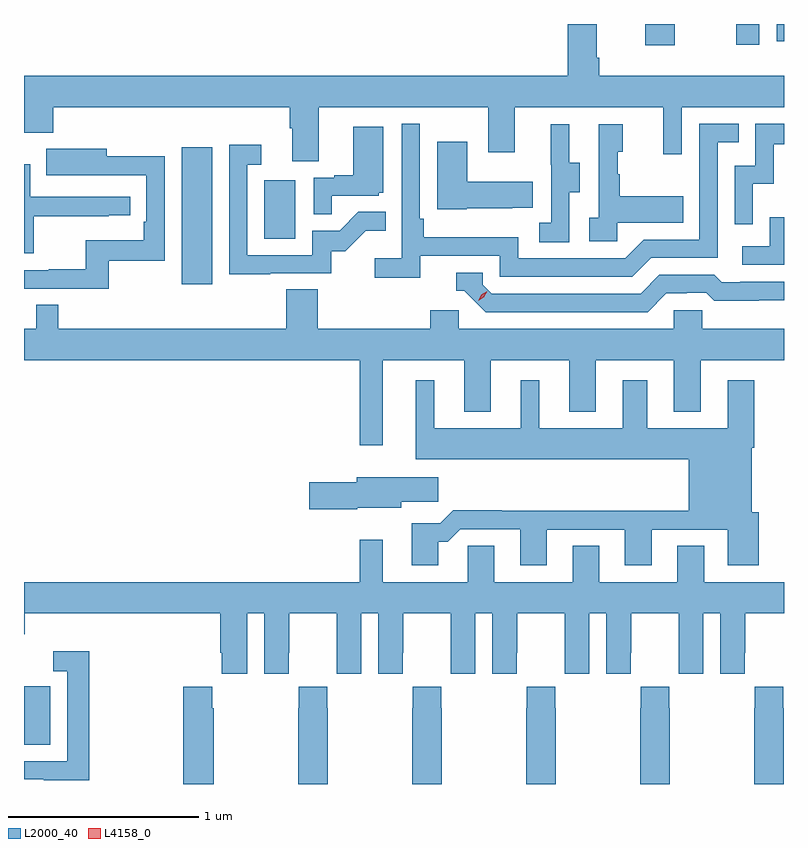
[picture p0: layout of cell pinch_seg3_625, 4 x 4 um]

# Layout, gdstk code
import gdstk
lib = gdstk.Library(unit=1e-6, precision=1e-09)
def R(c, l, rs):  # rectangles x0, y0, x1, y1
    for r in rs: c.add(gdstk.rectangle(r[:2], r[2:], *l))
def P(c, l, *ps):  # polygons
    for p in ps: c.add(gdstk.Polygon(p, *l))
L2000_40 = (2000, 40)
L4158_0 = (4158, 0)

pinch_seg3_625 = lib.new_cell('pinch_seg3_625')
R(pinch_seg3_625, L2000_40, [(1020.088,669.588,1020.226,669.895), (1020.917,672.012,1021.078,672.733), (1021.352,672.252,1021.516,672.559), (1023.359,673.269,1023.514,673.381), (1023.836,673.272,1023.958,673.381), (1024.05,673.29,1024.088,673.381)])
P(pinch_seg3_625, L2000_40, [(1021.639,672.944),(1022.531,672.944),(1022.531,672.705),(1022.671,672.705),(1022.671,672.944),(1023.452,672.944),(1023.452,672.696),(1023.549,672.696),(1023.549,672.944),(1024.088,672.944),(1024.088,673.108),(1023.116,673.108),(1023.116,673.204),(1023.103,673.204),(1023.103,673.381),(1022.951,673.381),(1022.951,673.108),(1020.088,673.108),(1020.088,672.809),(1020.242,672.809),(1020.242,672.944),(1021.487,672.944),(1021.487,672.832),(1021.499,672.832),(1021.499,672.658),(1021.639,672.658)],
  [(1022.174,672.162),(1022.592,672.162),(1022.592,672.051),(1023.289,672.051),(1023.388,672.15),(1023.738,672.15),(1023.738,672.759),(1023.851,672.759),(1023.851,672.855),(1023.642,672.855),(1023.642,672.246),(1023.351,672.246),(1023.252,672.147),(1022.688,672.147),(1022.688,672.259),(1022.192,672.259),(1022.192,672.355),(1022.172,672.355),(1022.172,672.856),(1022.076,672.856),(1022.076,672.148),(1021.935,672.148),(1021.935,672.046),(1022.174,672.046)],
  [(1023.924,672.539),(1024.034,672.539),(1024.034,672.747),(1024.088,672.747),(1024.088,672.855),(1023.936,672.855),(1023.936,672.636),(1023.828,672.636),(1023.828,672.327),(1023.924,672.327)],
  [(1023.21,672.335),(1023.557,672.335),(1023.557,672.475),(1023.223,672.475),(1023.223,672.59),(1023.213,672.59),(1023.213,672.708),(1023.238,672.708),(1023.238,672.853),(1023.114,672.853),(1023.114,672.362),(1023.063,672.362),(1023.063,672.237),(1023.21,672.237)],
  [(1022.958,672.496),(1023.013,672.496),(1023.013,672.651),(1022.959,672.651),(1022.959,672.853),(1022.861,672.853),(1022.861,672.639),(1022.862,672.639),(1022.862,672.335),(1022.799,672.335),(1022.799,672.232),(1022.958,672.232)],
  [(1021.709,672.477),(1021.956,672.477),(1021.956,672.492),(1021.978,672.492),(1021.978,672.841),(1021.82,672.841),(1021.82,672.586),(1021.721,672.586),(1021.721,672.573),(1021.614,672.573),(1021.614,672.379),(1021.709,672.379)],
  [(1022.418,672.41),(1022.657,672.41),(1022.657,672.413),(1022.765,672.413),(1022.765,672.55),(1022.422,672.55),(1022.422,672.76),(1022.264,672.76),(1022.264,672.407),(1022.418,672.407)],
  [(1021.385,672.069),(1021.704,672.069),(1021.704,672.186),(1021.78,672.186),(1021.887,672.293),(1021.991,672.293),(1021.991,672.392),(1021.847,672.392),(1021.749,672.294),(1021.605,672.294),(1021.605,672.165),(1021.263,672.165),(1021.263,672.639),(1021.336,672.639),(1021.336,672.745),(1021.167,672.745),(1021.167,672.064),(1021.385,672.064)],
  [(1020.535,672.135),(1020.828,672.135),(1020.828,672.686),(1020.523,672.686),(1020.523,672.724),(1020.205,672.724),(1020.205,672.584),(1020.419,672.584),(1020.419,672.585),(1020.732,672.585),(1020.732,672.34),(1020.719,672.34),(1020.719,672.244),(1020.414,672.244),(1020.414,672.089),(1020.217,672.089),(1020.217,672.084),(1020.088,672.084),(1020.088,671.988),(1020.535,671.988)],
  [(1020.14,672.37),(1020.533,672.37),(1020.533,672.375),(1020.646,672.375),(1020.646,672.471),(1020.12,672.471),(1020.12,672.643),(1020.088,672.643),(1020.088,672.174),(1020.14,672.174)],
  [(1024.088,672.364),(1024.014,672.364),(1024.014,672.21),(1023.867,672.21),(1023.867,672.114),(1024.088,672.114)],
  [(1023.469,671.964),(1023.576,671.964),(1023.576,671.967),(1023.679,671.967),(1023.721,671.925),(1023.954,671.925),(1023.954,671.927),(1024.088,671.927),(1024.088,672.024),(1023.859,672.024),(1023.859,672.021),(1023.76,672.021),(1023.721,672.06),(1023.432,672.06),(1023.333,671.961),(1022.55,671.961),(1022.502,672.009),(1022.502,672.072),(1022.363,672.072),(1022.363,671.976),(1022.406,671.976),(1022.517,671.865),(1023.37,671.865)],
  [(1021.975,671.612),(1022.405,671.612),(1022.405,671.339),(1022.545,671.339),(1022.545,671.612),(1022.957,671.612),(1022.957,671.339),(1023.097,671.339),(1023.097,671.612),(1023.509,671.612),(1023.509,671.339),(1023.649,671.339),(1023.649,671.612),(1024.088,671.612),(1024.088,671.776),(1023.657,671.776),(1023.657,671.874),(1023.507,671.874),(1023.507,671.776),(1022.376,671.776),(1022.376,671.874),(1022.225,671.874),(1022.225,671.776),(1021.634,671.776),(1021.634,671.984),(1021.469,671.984),(1021.469,671.776),(1020.269,671.776),(1020.269,671.903),(1020.153,671.903),(1020.153,671.776),(1020.088,671.776),(1020.088,671.612),(1021.854,671.612),(1021.854,671.163),(1021.975,671.163)],
  [(1022.269,670.655),(1022.318,670.655),(1022.385,670.722),(1022.699,670.722),(1022.699,670.533),(1022.839,670.533),(1022.839,670.719),(1023.251,670.719),(1023.251,670.533),(1023.391,670.533),(1023.391,670.719),(1023.791,670.719),(1023.791,670.533),(1023.956,670.533),(1023.956,670.812),(1023.919,670.812),(1023.919,671.15),(1023.932,671.15),(1023.932,671.506),(1023.791,671.506),(1023.791,671.254),(1023.367,671.254),(1023.367,671.506),(1023.239,671.506),(1023.239,671.254),(1022.8,671.254),(1022.8,671.506),(1022.702,671.506),(1022.702,671.254),(1022.248,671.254),(1022.248,671.506),(1022.15,671.506),(1022.15,671.09),(1023.587,671.09),(1023.587,670.82),(1022.603,670.82),(1022.603,670.823),(1022.348,670.823),(1022.278,670.753),(1022.129,670.753),(1022.129,670.533),(1022.269,670.533)],
  [(1021.842,670.835),(1022.074,670.835),(1022.074,670.867),(1022.269,670.867),(1022.269,670.996),(1021.838,670.996),(1021.838,670.97),(1021.59,670.97),(1021.59,670.828),(1021.842,670.828)],
  [(1021.264,670.28),(1021.352,670.28),(1021.352,669.96),(1021.482,669.96),(1021.482,670.072),(1021.483,670.072),(1021.483,670.28),(1021.733,670.28),(1021.733,670.072),(1021.734,670.072),(1021.734,669.96),(1021.864,669.96),(1021.864,670.28),(1021.952,670.28),(1021.952,669.96),(1022.082,669.96),(1022.082,670.072),(1022.083,670.072),(1022.083,670.28),(1022.333,670.28),(1022.333,670.072),(1022.334,670.072),(1022.334,669.96),(1022.464,669.96),(1022.464,670.28),(1022.552,670.28),(1022.552,669.96),(1022.682,669.96),(1022.682,670.072),(1022.683,670.072),(1022.683,670.28),(1022.933,670.28),(1022.933,670.072),(1022.934,670.072),(1022.934,669.96),(1023.064,669.96),(1023.064,670.28),(1023.152,670.28),(1023.152,669.96),(1023.282,669.96),(1023.282,670.072),(1023.283,670.072),(1023.283,670.28),(1023.533,670.28),(1023.533,670.072),(1023.534,670.072),(1023.534,669.96),(1023.664,669.96),(1023.664,670.28),(1023.752,670.28),(1023.752,669.96),(1023.882,669.96),(1023.882,670.072),(1023.883,670.072),(1023.883,670.28),(1024.088,670.28),(1024.088,670.444),(1023.667,670.444),(1023.667,670.634),(1023.527,670.634),(1023.527,670.444),(1023.115,670.444),(1023.115,670.634),(1022.975,670.634),(1022.975,670.444),(1022.563,670.444),(1022.563,670.634),(1022.424,670.634),(1022.424,670.444),(1021.975,670.444),(1021.975,670.666),(1021.854,670.666),(1021.854,670.444),(1020.088,670.444),(1020.088,670.168),(1020.092,670.168),(1020.092,670.28),(1021.121,670.28),(1021.121,670.072),(1021.13,670.072),(1021.13,669.96),(1021.264,669.96)],
  [(1020.431,670.081),(1020.243,670.081),(1020.243,669.975),(1020.315,669.975),(1020.315,669.501),(1020.088,669.501),(1020.088,669.405),(1020.193,669.405),(1020.193,669.4),(1020.431,669.4)],
  [(1024.086,669.779),(1024.083,669.779),(1024.083,669.892),(1023.933,669.892),(1023.933,669.779),(1023.931,669.779),(1023.931,669.381),(1024.086,669.381)],
  [(1023.486,669.779),(1023.483,669.779),(1023.483,669.892),(1023.333,669.892),(1023.333,669.779),(1023.331,669.779),(1023.331,669.381),(1023.486,669.381)],
  [(1022.886,669.779),(1022.883,669.779),(1022.883,669.892),(1022.733,669.892),(1022.733,669.779),(1022.731,669.779),(1022.731,669.381),(1022.886,669.381)],
  [(1022.286,669.779),(1022.283,669.779),(1022.283,669.892),(1022.133,669.892),(1022.133,669.779),(1022.131,669.779),(1022.131,669.381),(1022.286,669.381)],
  [(1021.686,669.779),(1021.683,669.779),(1021.683,669.892),(1021.533,669.892),(1021.533,669.779),(1021.531,669.779),(1021.531,669.381),(1021.686,669.381)],
  [(1021.086,669.779),(1021.079,669.779),(1021.079,669.892),(1020.926,669.892),(1020.926,669.381),(1021.086,669.381)])
P(pinch_seg3_625, L4158_0, [(1022.478,671.924),(1022.478,671.924),(1022.494,671.956),(1022.525,671.975),(1022.525,671.975),(1022.525,671.975),(1022.509,671.943),(1022.478,671.924)])

lib.write_gds('pinch_seg3_625.gds')
